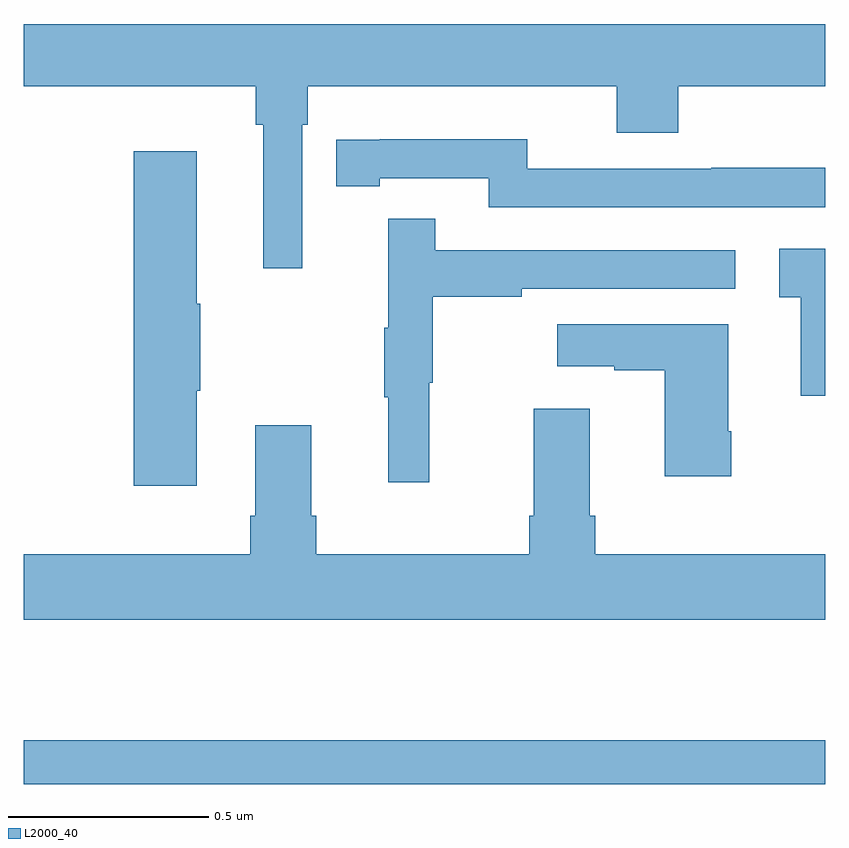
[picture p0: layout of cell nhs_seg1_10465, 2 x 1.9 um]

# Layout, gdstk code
import gdstk
lib = gdstk.Library(unit=1e-6, precision=1e-09)
def R(c, l, rs):  # rectangles x0, y0, x1, y1
    for r in rs: c.add(gdstk.rectangle(r[:2], r[2:], *l))
def P(c, l, *ps):  # polygons
    for p in ps: c.add(gdstk.Polygon(p, *l))
L2000_40 = (2000, 40)

nhs_seg1_10465 = lib.new_cell('nhs_seg1_10465')
R(nhs_seg1_10465, L2000_40, [(241,571.302,243,571.411)])
P(nhs_seg1_10465, L2000_40, [(241.695,572.948),(241.709,572.948),(241.709,573.044),(242.48,573.044),(242.48,572.927),(242.633,572.927),(242.633,573.044),(243,573.044),(243,573.199),(241,573.199),(241,573.044),(241.579,573.044),(241.579,572.948),(241.598,572.948),(241.598,572.589),(241.695,572.589)],
  [(243,572.84),(242.716,572.84),(242.716,572.838),(242.256,572.838),(242.256,572.911),(241.888,572.911),(241.888,572.91),(241.78,572.91),(241.78,572.794),(241.888,572.794),(241.888,572.814),(242.16,572.814),(242.16,572.742),(243,572.742)],
  [(241.432,572.284),(241.44,572.284),(241.44,572.501),(241.432,572.501),(241.432,572.881),(241.274,572.881),(241.274,572.046),(241.432,572.046)],
  [(242.012,572.304),(242.02,572.304),(242.02,572.518),(242.243,572.518),(242.243,572.538),(242.776,572.538),(242.776,572.634),(242.027,572.634),(242.027,572.713),(241.91,572.713),(241.91,572.441),(241.899,572.441),(241.899,572.267),(241.91,572.267),(241.91,572.055),(242.012,572.055)],
  [(243,572.638),(242.886,572.638),(242.886,572.517),(242.939,572.517),(242.939,572.271),(243,572.271)],
  [(242.766,572.182),(242.758,572.182),(242.758,572.449),(242.331,572.449),(242.331,572.345),(242.474,572.345),(242.474,572.335),(242.6,572.335),(242.6,572.07),(242.766,572.07)],
  [(243,571.876),(242.426,571.876),(242.426,571.972),(242.413,571.972),(242.413,572.239),(242.273,572.239),(242.273,571.972),(242.261,571.972),(242.261,571.876),(241.73,571.876),(241.73,571.972),(241.717,571.972),(241.717,572.197),(241.577,572.197),(241.577,571.972),(241.565,571.972),(241.565,571.876),(241,571.876),(241,571.712),(243,571.712)])

lib.write_gds('nhs_seg1_10465.gds')
